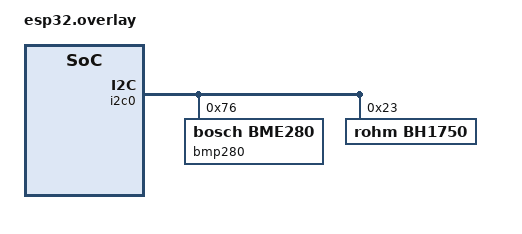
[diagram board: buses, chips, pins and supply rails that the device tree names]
/*
 * Copyright (c) 2022 Gaël PORTAY
 *
 * SPDX-License-Identifier: LGPL-2.1-or-later
 */

&i2c0 {
	status = "okay";
	bmp280@76 {
		compatible = "bosch,bme280";
		reg = <0x76>;
	};
	bh1750@23 {
		compatible = "rohm,bh1750";
		reg = <0x23>;
	};
};
